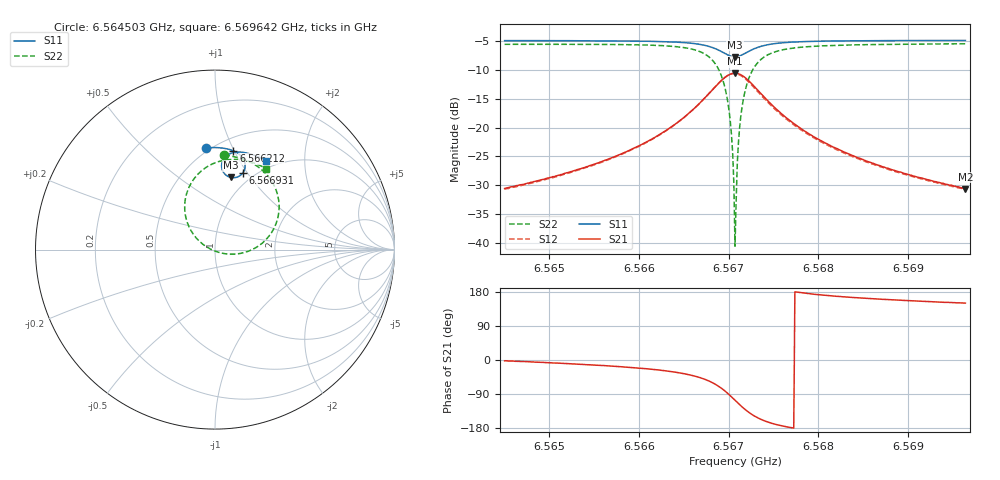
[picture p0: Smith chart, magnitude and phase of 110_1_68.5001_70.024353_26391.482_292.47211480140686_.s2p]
#  HZ  S  RI  R  50.00
! Rohde & Schwarz Vector Network Analyzer
! Rohde-Schwarz,ZNB20-2Port,1311601062101988,3.16
! Created: UTC 3/20/2024, 4:53:25 PM
! freq[Hz]  re:S11  im:S11  re:S21  im:S21  re:S12  im:S12  re:S22  im:S22
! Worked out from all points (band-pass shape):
!   401 points, 6.564503 GHz to 6.569642 GHz, reference 50 ohm
!   highest |S21| = -10.54 dB at 6.567072 GHz (marker M1); lowest = -30.6 dB at 6.569642 GHz (marker M2)
!   |S21| within 3 dB of the highest: 6.566815 GHz to 6.567329 GHz (514.1 kHz wide, 0.00783 % of centre)
!   lowest |S11| = -7.7 dB at 6.567072 GHz (marker M3), VSWR 2.40, Z = 41.8 + j40.5 ohm
!   |S11| at or under -10 dB: nowhere
!   |S22| runs from -40.6 to -5.4 dB; largest |S21 - S12| = 0.015
!   S11 on the Smith chart (normalised r, x): 6.564503 GHz: 0.47, +0.80; 6.566212 GHz: 0.62, +0.99; 6.566931 GHz: 0.89, +0.95; 6.569642 GHz: 0.89, +1.31
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6.5645029e9  -0.0509 0.567  0.0296 -0.00115  0.0293 -0.00161  0.0514 0.5262
6.5653637e9  0.0205 0.5677  0.0435 -0.00882  0.0427 -0.0094  0.1356 0.5107
6.5662116e9  0.1021 0.5506  0.0765 -0.0376  0.0754 -0.0384  0.2543 0.4501
6.5662244e9  0.1035 0.55  0.0774 -0.0385  0.0762 -0.0395  0.2567 0.4481
6.5665199e9  0.1391 0.5282  0.1006 -0.0755  0.099 -0.077  0.3194 0.3754
6.5667254e9  0.1634 0.4938  0.1138 -0.136  0.111 -0.1388  0.3564 0.2583
6.5668411e9  0.1675 0.4594  0.1023 -0.1962  0.0971 -0.2001  0.3396 0.1433
6.566931e9  0.1541 0.4263  0.0617 -0.2532  0.0524 -0.2564  0.2645 0.0369
6.5670081e9  0.123 0.4039  -0.00851 -0.2882  -0.0212 -0.2873  0.1345 -0.0225
6.5670338e9  0.1093 0.4009  -0.0377 -0.2915  -0.051 -0.2884  0.0816 -0.0254
6.5670466e9  0.102 0.4004  -0.0528 -0.2909  -0.0661 -0.2867  0.0548 -0.0229
6.5670595e9  0.0947 0.4007  -0.0678 -0.2889  -0.0811 -0.2834  0.028 -0.0173
6.5670723e9  0.0877 0.4021  -0.0828 -0.2853  -0.0956 -0.2787  0.00179 -0.00918
6.567098e9  0.0739 0.4069  -0.111 -0.2738  -0.1226 -0.2652  -0.0466 0.015
6.5671237e9  0.0617 0.4145  -0.1359 -0.2575  -0.1461 -0.247  -0.0879 0.0474
6.5671494e9  0.0519 0.4242  -0.1565 -0.2374  -0.1646 -0.2258  -0.1208 0.0857
6.5672008e9  0.0397 0.4466  -0.1832 -0.1921  -0.1873 -0.1798  -0.1598 0.1686
6.567265e9  0.0373 0.4744  -0.193 -0.1384  -0.1933 -0.1271  -0.1677 0.2638
6.5675091e9  0.0756 0.5302  -0.1479 -0.0289  -0.1446 -0.0246  -0.0637 0.4478
6.567933e9  0.1386 0.5434  -0.0845 0.00882  -0.0826 0.0102  0.0772 0.5016
6.5687938e9  0.2211 0.5247  -0.0411 0.0155  -0.0401 0.0158  0.2087 0.4853
6.5696417e9  0.285 0.4949  -0.0255 0.0146  -0.025 0.015  0.2863 0.4513
